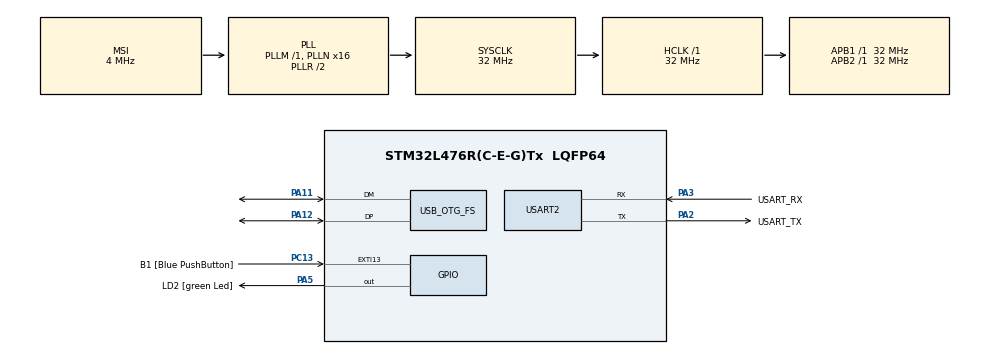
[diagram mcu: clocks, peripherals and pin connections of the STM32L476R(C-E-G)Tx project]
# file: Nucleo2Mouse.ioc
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Mcu.Family=STM32L4
Mcu.Name=STM32L476R(C-E-G)Tx
Mcu.Package=LQFP64
NVIC.EXTI15_10_IRQn=true\:0\:0\:false\:false\:true\:true\:true\:true
NVIC.OTG_FS_IRQn=true\:0\:0\:false\:false\:true\:false\:true\:true
NVIC.PriorityGroup=NVIC_PRIORITYGROUP_4
PA11.Mode=Device_Only
PA11.Signal=USB_OTG_FS_DM
PA12.Mode=Device_Only
PA12.Signal=USB_OTG_FS_DP
PA2.GPIO_Label=USART_TX
PA2.GPIO_Mode=GPIO_MODE_AF_PP
PA2.GPIO_PuPd=GPIO_NOPULL
PA2.GPIO_Speed=GPIO_SPEED_FREQ_VERY_HIGH
PA2.Mode=Asynchronous
PA2.Signal=USART2_TX
PA3.GPIO_Label=USART_RX
PA3.GPIO_Mode=GPIO_MODE_AF_PP
PA3.GPIO_PuPd=GPIO_NOPULL
PA3.GPIO_Speed=GPIO_SPEED_FREQ_VERY_HIGH
PA3.Mode=Asynchronous
PA3.Signal=USART2_RX
PA5.GPIO_Label=LD2 [green Led]
PA5.GPIO_ModeDefaultOutputPP=GPIO_MODE_OUTPUT_PP
PA5.GPIO_PuPd=GPIO_NOPULL
PA5.GPIO_Speed=GPIO_SPEED_FREQ_LOW
PA5.Signal=GPIO_Output
PC13.GPIO_Label=B1 [Blue PushButton]
PC13.GPIO_ModeDefaultEXTI=GPIO_MODE_IT_RISING_FALLING
PC13.GPIO_PuPd=GPIO_PULLUP
PC13.Signal=GPXTI13
PC14-OSC32_IN\ (PC14).Mode=LSE-External-Oscillator
PC14-OSC32_IN\ (PC14).Signal=RCC_OSC32_IN
PC15-OSC32_OUT\ (PC15).Mode=LSE-External-Oscillator
PC15-OSC32_OUT\ (PC15).Signal=RCC_OSC32_OUT
ProjectManager.HeapSize=0x200
ProjectManager.StackSize=0x400
ProjectManager.TargetToolchain=STM32CubeIDE
RCC.ADCFreq_Value=48000000
RCC.AHBFreq_Value=32000000
RCC.APB1Freq_Value=32000000
RCC.APB1TimFreq_Value=32000000
RCC.APB2Freq_Value=32000000
RCC.APB2TimFreq_Value=32000000
RCC.CortexFreq_Value=32000000
RCC.HCLKFreq_Value=32000000
RCC.HSE_VALUE=8000000
RCC.HSI_VALUE=16000000
RCC.MSI_VALUE=4000000
RCC.PLLN=16
RCC.PLLSAI1N=24
RCC.PREFETCH_ENABLE=1
RCC.SYSCLKFreq_VALUE=32000000
RCC.SYSCLKSource=RCC_SYSCLKSOURCE_PLLCLK
RCC.USBFreq_Value=48000000
RCC.VCOOutputFreq_Value=64000000
USART2.VirtualMode-Asynchronous=VM_ASYNC
USB_DEVICE.CLASS_NAME_FS=HID
USB_DEVICE.VirtualMode=Hid
USB_DEVICE.VirtualModeFS=Hid_FS
USB_OTG_FS.VirtualMode=Device_Only
VP_USB_DEVICE_VS_USB_DEVICE_HID_FS.Mode=HID_FS
board=NUCLEO-L476RG

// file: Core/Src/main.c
/* USER CODE BEGIN Header */
/**
  ******************************************************************************
  * @file           : main.c
  * @brief          : Main program body
  ******************************************************************************
  * @attention
  *
  * Copyright (c) 2026 STMicroelectronics.
  * All rights reserved.
  *
  * This software is licensed under terms that can be found in the LICENSE file
  * in the root directory of this software component.
  * If no LICENSE file comes with this software, it is provided AS-IS.
  *
  ******************************************************************************
  */
/* USER CODE END Header */
#include "main.h"
#include "usb_device.h"

/* USER CODE BEGIN Includes */
#include "usbd_hid.h"
/* USER CODE END Includes */

/* USER CODE BEGIN PD */
#define LEFT_CLICK 0x01
/* USER CODE END PD */

UART_HandleTypeDef huart2;

/* USER CODE BEGIN PV */
extern USBD_HandleTypeDef hUsbDeviceFS; // On récupère le handle USB défini ailleurs
uint8_t mouseReport[4] = {0, 0, 0, 0};  // Le tampon pour envoyer les données au PC
volatile uint8_t event_detected = 0;	// Drapeau pour signaler un changement d'état
/* USER CODE END PV */

void SystemClock_Config(void);
static void MX_GPIO_Init(void);
static void MX_USART2_UART_Init(void);

int main(void)
{

  /* MCU Configuration--------------------------------------------------------*/

  /* Reset of all peripherals, Initializes the Flash interface and the Systick. */
  HAL_Init();

  /* Configure the system clock */
  SystemClock_Config();

  /* Initialize all configured peripherals */
  MX_GPIO_Init();
  MX_USART2_UART_Init();
  MX_USB_DEVICE_Init();

  /* Infinite loop */
  while (1)
  {

    /* USER CODE BEGIN 3 */
		//On regarde si une interruption a eu lieu
		if (event_detected){
			// Si c'est le cas on vérifie quel est l'évènement
			if (HAL_GPIO_ReadPin(GPIOC, GPIO_PIN_13) == GPIO_PIN_RESET){
				// Si le bouton est enfoncé, on met la touche dans le Buffer
				mouseReport[0] = LEFT_CLICK;
			}
			else{
				// Sinon la touche est relachée : on vide le buffer
				mouseReport[0] = (int) NULL;
			}
		// Tant que l'état du bouton n'est pas modifié, le buffer ne peut pas changer
		event_detected = 0;
		// On envoie en boucle le buffer : on a un appuie long si on maintient le bouton
		USBD_HID_SendReport(&hUsbDeviceFS, mouseReport, 4);
		HAL_Delay(10); // Court délai pour ne pas surcharger le canal
		}
  }
  /* USER CODE END 3 */
}

void SystemClock_Config(void)
{
  RCC_OscInitTypeDef RCC_OscInitStruct = {0};
  RCC_ClkInitTypeDef RCC_ClkInitStruct = {0};

  /** Configure the main internal regulator output voltage
  */
  if (HAL_PWREx_ControlVoltageScaling(PWR_REGULATOR_VOLTAGE_SCALE1) != HAL_OK)
  {
    Error_Handler();
  }

  /** Configure LSE Drive Capability
  */
  HAL_PWR_EnableBkUpAccess();
  __HAL_RCC_LSEDRIVE_CONFIG(RCC_LSEDRIVE_LOW);

  /** Initializes the RCC Oscillators according to the specified parameters
  * in the RCC_OscInitTypeDef structure.
  */
  RCC_OscInitStruct.OscillatorType = RCC_OSCILLATORTYPE_LSE|RCC_OSCILLATORTYPE_MSI;
  RCC_OscInitStruct.LSEState = RCC_LSE_ON;
  RCC_OscInitStruct.MSIState = RCC_MSI_ON;
  RCC_OscInitStruct.MSICalibrationValue = 0;
  RCC_OscInitStruct.MSIClockRange = RCC_MSIRANGE_6;
  RCC_OscInitStruct.PLL.PLLState = RCC_PLL_ON;
  RCC_OscInitStruct.PLL.PLLSource = RCC_PLLSOURCE_MSI;
  RCC_OscInitStruct.PLL.PLLM = 1;
  RCC_OscInitStruct.PLL.PLLN = 16;
  RCC_OscInitStruct.PLL.PLLP = RCC_PLLP_DIV7;
  RCC_OscInitStruct.PLL.PLLQ = RCC_PLLQ_DIV2;
  RCC_OscInitStruct.PLL.PLLR = RCC_PLLR_DIV2;
  if (HAL_RCC_OscConfig(&RCC_OscInitStruct) != HAL_OK)
  {
    Error_Handler();
  }

  /** Initializes the CPU, AHB and APB buses clocks
  */
  RCC_ClkInitStruct.ClockType = RCC_CLOCKTYPE_HCLK|RCC_CLOCKTYPE_SYSCLK
                              |RCC_CLOCKTYPE_PCLK1|RCC_CLOCKTYPE_PCLK2;
  RCC_ClkInitStruct.SYSCLKSource = RCC_SYSCLKSOURCE_PLLCLK;
  RCC_ClkInitStruct.AHBCLKDivider = RCC_SYSCLK_DIV1;
  RCC_ClkInitStruct.APB1CLKDivider = RCC_HCLK_DIV1;
  RCC_ClkInitStruct.APB2CLKDivider = RCC_HCLK_DIV1;

  if (HAL_RCC_ClockConfig(&RCC_ClkInitStruct, FLASH_LATENCY_1) != HAL_OK)
  {
    Error_Handler();
  }

  /** Enable MSI Auto calibration
  */
  HAL_RCCEx_EnableMSIPLLMode();
}

static void MX_USART2_UART_Init(void)
{

  huart2.Instance = USART2;
  huart2.Init.BaudRate = 115200;
  huart2.Init.WordLength = UART_WORDLENGTH_8B;
  huart2.Init.StopBits = UART_STOPBITS_1;
  huart2.Init.Parity = UART_PARITY_NONE;
  huart2.Init.Mode = UART_MODE_TX_RX;
  huart2.Init.HwFlowCtl = UART_HWCONTROL_NONE;
  huart2.Init.OverSampling = UART_OVERSAMPLING_16;
  huart2.Init.OneBitSampling = UART_ONE_BIT_SAMPLE_DISABLE;
  huart2.AdvancedInit.AdvFeatureInit = UART_ADVFEATURE_NO_INIT;
  if (HAL_UART_Init(&huart2) != HAL_OK)
  {
    Error_Handler();
  }

}

static void MX_GPIO_Init(void)
{
  GPIO_InitTypeDef GPIO_InitStruct = {0};

  /* GPIO Ports Clock Enable */
  __HAL_RCC_GPIOC_CLK_ENABLE();
  __HAL_RCC_GPIOA_CLK_ENABLE();

  /*Configure GPIO pin Output Level */
  HAL_GPIO_WritePin(LD2_GPIO_Port, LD2_Pin, GPIO_PIN_RESET);

  /*Configure GPIO pin : B1_Pin */
  GPIO_InitStruct.Pin = B1_Pin;
  GPIO_InitStruct.Mode = GPIO_MODE_IT_RISING_FALLING;
  GPIO_InitStruct.Pull = GPIO_PULLUP;
  HAL_GPIO_Init(B1_GPIO_Port, &GPIO_InitStruct);

  /*Configure GPIO pin : LD2_Pin */
  GPIO_InitStruct.Pin = LD2_Pin;
  GPIO_InitStruct.Mode = GPIO_MODE_OUTPUT_PP;
  GPIO_InitStruct.Pull = GPIO_NOPULL;
  GPIO_InitStruct.Speed = GPIO_SPEED_FREQ_LOW;
  HAL_GPIO_Init(LD2_GPIO_Port, &GPIO_InitStruct);

  /* EXTI interrupt init*/
  HAL_NVIC_SetPriority(EXTI15_10_IRQn, 0, 0);
  HAL_NVIC_EnableIRQ(EXTI15_10_IRQn);

}

/* USER CODE BEGIN 4 */
void HAL_GPIO_EXTI_Callback(uint16_t GPIO_Pin){
	// Fonction pour activer les interruptions
    if (GPIO_Pin == GPIO_PIN_13){				// Si le pin détecté correspond au bouton
        event_detected = 1;						// Alors on le signale au reste du programme
        HAL_GPIO_TogglePin(GPIOA, GPIO_PIN_5);	// et on active la LED pour montrer que l'interruption fonctionne
    }
}
/* USER CODE END 4 */

void Error_Handler(void)
{
  __disable_irq();
  while (1)
  {
  }
}
